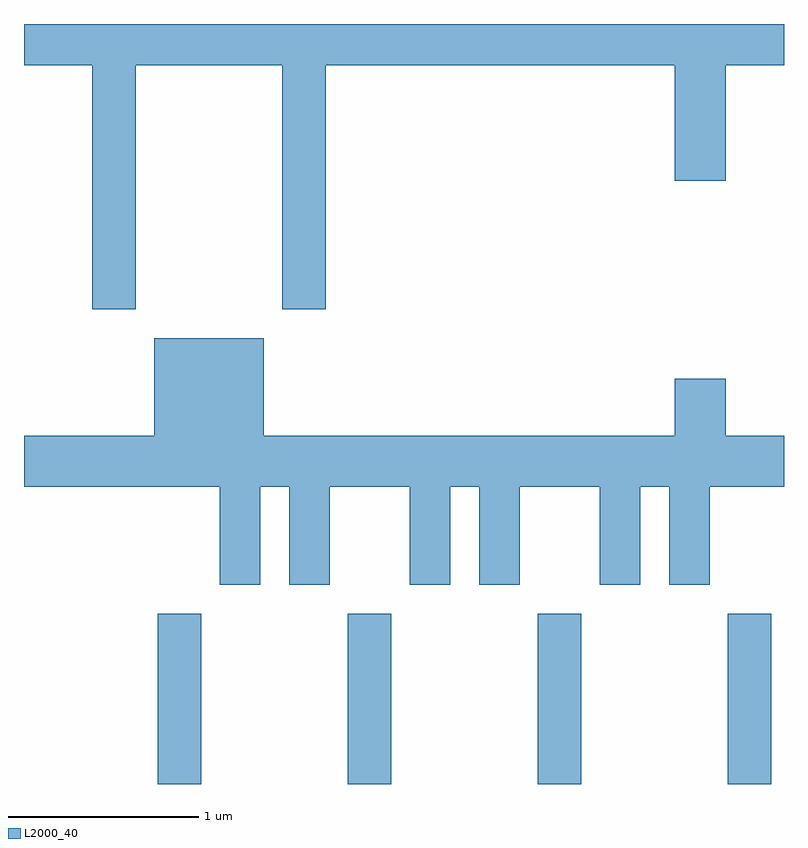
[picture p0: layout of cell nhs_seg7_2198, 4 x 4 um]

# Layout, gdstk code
import gdstk
lib = gdstk.Library(unit=1e-6, precision=1e-09)
def R(c, l, rs):  # rectangles x0, y0, x1, y1
    for r in rs: c.add(gdstk.rectangle(r[:2], r[2:], *l))
def A(c, l, x, y, w, h, nx, ny, dx, dy):  # array of equal rectangles
    R(c, l, [(x+i*dx, y+j*dy, x+i*dx+w, y+j*dy+h) for i in range(nx) for j in range(ny)])
def P(c, l, *ps):  # polygons
    for p in ps: c.add(gdstk.Polygon(p, *l))
L2000_40 = (2000, 40)

nhs_seg7_2198 = lib.new_cell('nhs_seg7_2198')
A(nhs_seg7_2198, L2000_40, 252.316, 1768.252, 0.228, 0.897, 4, 1, 1, 0)
P(nhs_seg7_2198, L2000_40, [(252.199,1772.036),(252.971,1772.036),(252.971,1770.751),(253.199,1770.751),(253.199,1772.036),(255.036,1772.036),(255.036,1771.426),(255.304,1771.426),(255.304,1772.036),(255.611,1772.036),(255.611,1772.252),(251.611,1772.252),(251.611,1772.036),(251.971,1772.036),(251.971,1770.751),(252.199,1770.751)],
  [(252.854,1769.816),(253.006,1769.816),(253.006,1769.301),(253.219,1769.301),(253.219,1769.816),(253.641,1769.816),(253.641,1769.301),(253.854,1769.301),(253.854,1769.816),(254.006,1769.816),(254.006,1769.301),(254.219,1769.301),(254.219,1769.816),(254.641,1769.816),(254.641,1769.301),(254.854,1769.301),(254.854,1769.816),(255.006,1769.816),(255.006,1769.301),(255.219,1769.301),(255.219,1769.816),(255.611,1769.816),(255.611,1770.084),(255.304,1770.084),(255.304,1770.384),(255.036,1770.384),(255.036,1770.084),(252.874,1770.084),(252.874,1770.599),(252.296,1770.599),(252.296,1770.084),(251.611,1770.084),(251.611,1769.816),(252.641,1769.816),(252.641,1769.301),(252.854,1769.301)])

lib.write_gds('nhs_seg7_2198.gds')
